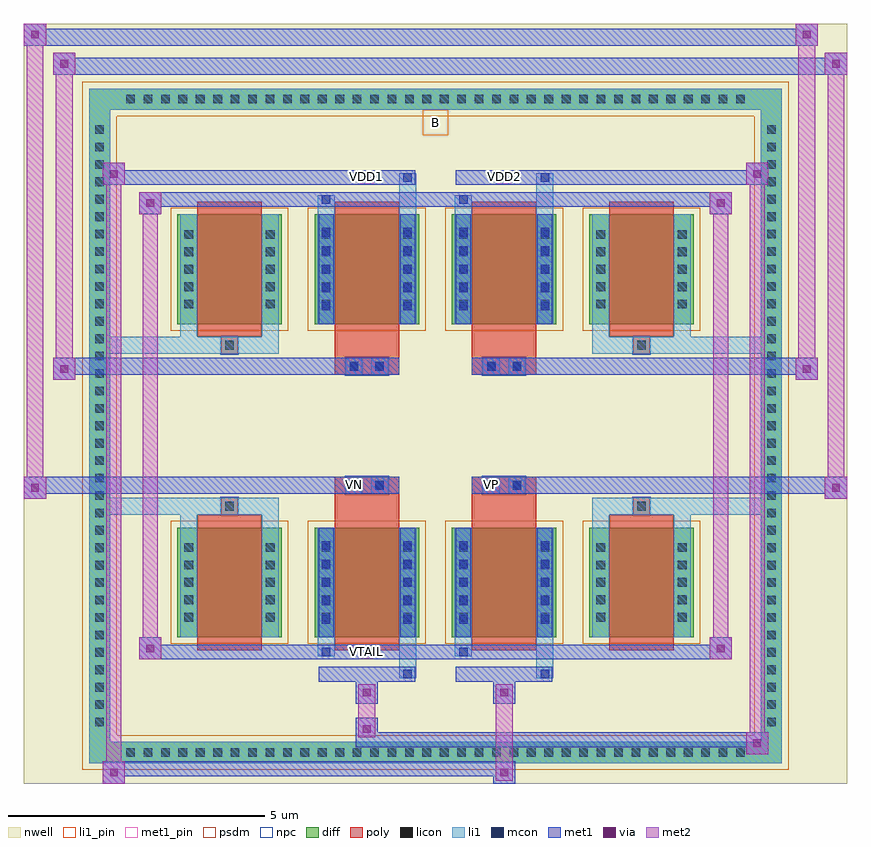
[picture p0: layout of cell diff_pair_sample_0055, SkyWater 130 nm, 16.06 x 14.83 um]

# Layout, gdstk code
import gdstk
lib = gdstk.Library(unit=1e-6, precision=5e-09)
def R(c, l, rs):  # rectangles x0, y0, x1, y1
    for r in rs: c.add(gdstk.rectangle(r[:2], r[2:], *l))
def A(c, l, x, y, w, h, nx, ny, dx, dy):  # array of equal rectangles
    R(c, l, [(x+i*dx, y+j*dy, x+i*dx+w, y+j*dy+h) for i in range(nx) for j in range(ny)])
def P(c, l, *ps):  # polygons
    for p in ps: c.add(gdstk.Polygon(p, *l))
nwell = (64, 20)
diff = (65, 20)
poly = (66, 20)
licon = (66, 44)
li1_pin = (67, 16)
li1 = (67, 20)
mcon = (67, 44)
met1_pin = (68, 16)
met1 = (68, 20)
via = (68, 44)
met2 = (69, 20)
psdm = (94, 20)
npc = (95, 20)

diff_pair_sample_0055 = lib.new_cell('diff_pair_sample_0055')
R(diff_pair_sample_0055, nwell, [(-8.03,-6.98,8.03,7.85), (-5.35,-5.17,-0.01,-0.795), (0.01,-5.17,5.35,-0.795), (-5.35,0.795,-0.01,5.17), (0.01,0.795,5.35,5.17)])
A(diff_pair_sample_0055, diff, -6.155, -6.58, 0.41, 0.41, 36, 2, 0.34, 12.75)
A(diff_pair_sample_0055, diff, -6.76, -5.985, 0.41, 0.41, 1, 35, 0, 0.34)
A(diff_pair_sample_0055, diff, 6.35, -5.985, 0.41, 0.41, 1, 35, 0, 0.34)
A(diff_pair_sample_0055, diff, -5.04, -4.125, 2.04, 2.14, 4, 2, 2.68, 6.11)
R(diff_pair_sample_0055, diff, [(-6.155,-6.58,6.155,-6.17), (-6.76,-5.985,-6.35,5.985), (6.35,-5.985,6.76,5.985), (-6.155,6.17,6.155,6.58)])
P(diff_pair_sample_0055, diff, [(6.76,6.58),(-6.76,6.58),(-6.76,-6.17),(-6.35,-6.17),(-6.35,6.17),(6.35,6.17),(6.35,-6.17),(-6.35,-6.17),(-6.76,-6.17),(-6.76,-6.58),(6.76,-6.58)])
A(diff_pair_sample_0055, poly, -4.65, -4.375, 1.26, 2.64, 4, 2, 2.68, 6.11)
R(diff_pair_sample_0055, poly, [(-4.185,-1.735,-3.855,-1.405), (-4.185,-1.735,-3.855,-1.405), (-1.97,-1.735,-0.71,-1.325), (0.71,-1.735,1.97,-1.325), (3.855,-1.735,4.185,-1.405), (3.855,-1.735,4.185,-1.405), (-1.97,-1.325,-0.71,-0.995), (-1.755,-1.325,-1.425,-0.995), (-1.255,-1.325,-0.925,-0.995), (0.71,-1.325,1.97,-0.995), (0.925,-1.325,1.255,-0.995), (1.425,-1.325,1.755,-0.995), (-1.97,0.995,-0.71,1.325), (-1.755,0.995,-1.425,1.325), (-1.255,0.995,-0.925,1.325), (0.71,0.995,1.97,1.325), (0.925,0.995,1.255,1.325), (1.425,0.995,1.755,1.325), (-1.97,1.325,-0.71,1.735), (0.71,1.325,1.97,1.735), (-4.185,1.405,-3.855,1.735), (-4.185,1.405,-3.855,1.735), (3.855,1.405,4.185,1.735), (3.855,1.405,4.185,1.735)])
A(diff_pair_sample_0055, licon, -6.035, -6.46, 0.17, 0.17, 36, 2, 0.34, 12.75)
A(diff_pair_sample_0055, licon, -6.64, -5.865, 0.17, 0.17, 1, 35, 0, 0.34)
A(diff_pair_sample_0055, licon, 6.47, -5.865, 0.17, 0.17, 1, 35, 0, 0.34)
A(diff_pair_sample_0055, licon, -4.9, -3.82, 0.17, 0.17, 1, 5, 0, 0.34)
A(diff_pair_sample_0055, licon, -3.31, -3.82, 0.17, 0.17, 1, 5, 0, 0.34)
A(diff_pair_sample_0055, licon, -2.22, -3.82, 0.17, 0.17, 1, 5, 0, 0.34)
A(diff_pair_sample_0055, licon, -0.63, -3.82, 0.17, 0.17, 1, 5, 0, 0.34)
A(diff_pair_sample_0055, licon, 0.46, -3.82, 0.17, 0.17, 1, 5, 0, 0.34)
A(diff_pair_sample_0055, licon, 2.05, -3.82, 0.17, 0.17, 1, 5, 0, 0.34)
A(diff_pair_sample_0055, licon, 3.14, -3.82, 0.17, 0.17, 1, 5, 0, 0.34)
A(diff_pair_sample_0055, licon, 4.73, -3.82, 0.17, 0.17, 1, 5, 0, 0.34)
A(diff_pair_sample_0055, licon, -4.9, 2.29, 0.17, 0.17, 1, 5, 0, 0.34)
A(diff_pair_sample_0055, licon, -3.31, 2.29, 0.17, 0.17, 1, 5, 0, 0.34)
A(diff_pair_sample_0055, licon, -2.22, 2.29, 0.17, 0.17, 1, 5, 0, 0.34)
A(diff_pair_sample_0055, licon, -0.63, 2.29, 0.17, 0.17, 1, 5, 0, 0.34)
A(diff_pair_sample_0055, licon, 0.46, 2.29, 0.17, 0.17, 1, 5, 0, 0.34)
A(diff_pair_sample_0055, licon, 2.05, 2.29, 0.17, 0.17, 1, 5, 0, 0.34)
A(diff_pair_sample_0055, licon, 3.14, 2.29, 0.17, 0.17, 1, 5, 0, 0.34)
A(diff_pair_sample_0055, licon, 4.73, 2.29, 0.17, 0.17, 1, 5, 0, 0.34)
R(diff_pair_sample_0055, licon, [(-4.105,-1.655,-3.935,-1.485), (3.935,-1.655,4.105,-1.485), (-1.675,-1.245,-1.505,-1.075), (-1.175,-1.245,-1.005,-1.075), (1.005,-1.245,1.175,-1.075), (1.505,-1.245,1.675,-1.075), (-1.675,1.075,-1.505,1.245), (-1.175,1.075,-1.005,1.245), (1.005,1.075,1.175,1.245), (1.505,1.075,1.675,1.245), (-4.105,1.485,-3.935,1.655), (3.935,1.485,4.105,1.655)])
R(diff_pair_sample_0055, li1_pin, [(-0.25,5.67,0.25,6.17)])
A(diff_pair_sample_0055, li1, -6.115, -6.54, 0.33, 0.33, 36, 2, 0.34, 12.75)
A(diff_pair_sample_0055, li1, -6.72, -5.945, 0.33, 0.33, 1, 35, 0, 0.34)
A(diff_pair_sample_0055, li1, 6.39, -5.945, 0.33, 0.33, 1, 35, 0, 0.34)
A(diff_pair_sample_0055, li1, -4.98, -3.9, 0.33, 0.33, 1, 5, 0, 0.34)
A(diff_pair_sample_0055, li1, -3.39, -3.9, 0.33, 0.33, 1, 5, 0, 0.34)
A(diff_pair_sample_0055, li1, -2.3, -3.9, 0.33, 0.33, 1, 5, 0, 0.34)
A(diff_pair_sample_0055, li1, -0.71, -3.9, 0.33, 0.33, 1, 5, 0, 0.34)
A(diff_pair_sample_0055, li1, 0.38, -3.9, 0.33, 0.33, 1, 5, 0, 0.34)
A(diff_pair_sample_0055, li1, 1.97, -3.9, 0.33, 0.33, 1, 5, 0, 0.34)
A(diff_pair_sample_0055, li1, 3.06, -3.9, 0.33, 0.33, 1, 5, 0, 0.34)
A(diff_pair_sample_0055, li1, 4.65, -3.9, 0.33, 0.33, 1, 5, 0, 0.34)
A(diff_pair_sample_0055, li1, -2.22, -3.86, 0.17, 0.17, 1, 5, 0, 0.36)
A(diff_pair_sample_0055, li1, -0.63, -3.86, 0.17, 0.17, 1, 5, 0, 0.36)
A(diff_pair_sample_0055, li1, 0.46, -3.86, 0.17, 0.17, 1, 5, 0, 0.36)
A(diff_pair_sample_0055, li1, 2.05, -3.86, 0.17, 0.17, 1, 5, 0, 0.36)
A(diff_pair_sample_0055, li1, -4.98, 2.21, 0.33, 0.33, 1, 5, 0, 0.34)
A(diff_pair_sample_0055, li1, -3.39, 2.21, 0.33, 0.33, 1, 5, 0, 0.34)
A(diff_pair_sample_0055, li1, -2.3, 2.21, 0.33, 0.33, 1, 5, 0, 0.34)
A(diff_pair_sample_0055, li1, -0.71, 2.21, 0.33, 0.33, 1, 5, 0, 0.34)
A(diff_pair_sample_0055, li1, 0.38, 2.21, 0.33, 0.33, 1, 5, 0, 0.34)
A(diff_pair_sample_0055, li1, 1.97, 2.21, 0.33, 0.33, 1, 5, 0, 0.34)
A(diff_pair_sample_0055, li1, 3.06, 2.21, 0.33, 0.33, 1, 5, 0, 0.34)
A(diff_pair_sample_0055, li1, 4.65, 2.21, 0.33, 0.33, 1, 5, 0, 0.34)
A(diff_pair_sample_0055, li1, -2.22, 2.25, 0.17, 0.17, 1, 5, 0, 0.36)
A(diff_pair_sample_0055, li1, -0.63, 2.25, 0.17, 0.17, 1, 5, 0, 0.36)
A(diff_pair_sample_0055, li1, 0.46, 2.25, 0.17, 0.17, 1, 5, 0, 0.36)
A(diff_pair_sample_0055, li1, 2.05, 2.25, 0.17, 0.17, 1, 5, 0, 0.36)
R(diff_pair_sample_0055, li1, [(-6.76,-6.58,-6.35,-6.17), (-6.76,-6.58,-6.35,-6.17), (-6.35,-6.58,6.35,-6.17), (6.35,-6.58,6.76,-6.17), (6.35,-6.58,6.76,-6.17), (-6.76,-6.17,-6.35,6.17), (6.35,-6.17,6.76,6.17), (-0.71,-4.93,-0.38,-4.125), (-0.63,-4.93,-0.46,-4.76), (1.97,-4.93,2.3,-4.125), (2.05,-4.93,2.22,-4.76), (-2.3,-4.5,-1.97,-4.125), (-2.22,-4.5,-2.05,-4.33), (0.38,-4.5,0.71,-4.125), (0.46,-4.5,0.63,-4.33), (-4.98,-4.125,-4.65,-1.985), (-3.39,-4.125,-3.06,-1.985), (-2.3,-4.125,-1.97,-1.985), (-0.71,-4.125,-0.38,-1.985), (0.38,-4.125,0.71,-1.985), (1.97,-4.125,2.3,-1.985), (3.06,-4.125,3.39,-1.985), (4.65,-4.125,4.98,-1.985), (-2.22,-3.86,-2.05,-2.25), (-0.63,-3.86,-0.46,-2.25), (0.46,-3.86,0.63,-2.25), (2.05,-3.86,2.22,-2.25), (-4.98,-1.985,-4.65,-1.405), (-3.39,-1.985,-3.06,-1.405), (3.06,-1.985,3.39,-1.405), (4.65,-1.985,4.98,-1.405), (-6.76,-1.735,-4.185,-1.405), (-4.98,-1.735,-4.185,-1.405), (-4.185,-1.735,-3.855,-1.405), (-3.855,-1.735,-3.06,-1.405), (3.06,-1.735,3.855,-1.405), (3.855,-1.735,4.185,-1.405), (3.855,-1.735,6.76,-1.405), (4.185,-1.735,4.98,-1.405), (-1.755,-1.325,-1.425,-0.995), (-1.255,-1.325,-0.925,-0.995), (0.925,-1.325,1.255,-0.995), (1.425,-1.325,1.755,-0.995), (-1.755,0.995,-1.425,1.325), (-1.255,0.995,-0.925,1.325), (0.925,0.995,1.255,1.325), (1.425,0.995,1.755,1.325), (-6.76,1.405,-4.185,1.735), (-4.98,1.405,-4.185,1.735), (-4.98,1.405,-4.65,1.985), (-4.185,1.405,-3.855,1.735), (-3.855,1.405,-3.06,1.735), (-3.39,1.405,-3.06,1.985), (3.06,1.405,3.855,1.735), (3.06,1.405,3.39,1.985), (3.855,1.405,4.185,1.735), (3.855,1.405,6.76,1.735), (4.185,1.405,4.98,1.735), (4.65,1.405,4.98,1.985), (-4.98,1.985,-4.65,4.125), (-3.39,1.985,-3.06,4.125), (-2.3,1.985,-1.97,4.125), (-0.71,1.985,-0.38,4.125), (0.38,1.985,0.71,4.125), (1.97,1.985,2.3,4.125), (3.06,1.985,3.39,4.125), (4.65,1.985,4.98,4.125), (-2.22,2.25,-2.05,3.86), (-0.63,2.25,-0.46,3.86), (0.46,2.25,0.63,3.86), (2.05,2.25,2.22,3.86), (-2.3,4.125,-1.97,4.5), (-0.71,4.125,-0.38,4.93), (0.38,4.125,0.71,4.5), (1.97,4.125,2.3,4.93), (-2.22,4.33,-2.05,4.5), (0.46,4.33,0.63,4.5), (-0.63,4.76,-0.46,4.93), (2.05,4.76,2.22,4.93), (-6.76,6.17,-6.35,6.58), (-6.76,6.17,-6.35,6.58), (-6.35,6.17,6.35,6.58), (6.35,6.17,6.76,6.58), (6.35,6.17,6.76,6.58)])
A(diff_pair_sample_0055, mcon, -2.22, -3.86, 0.17, 0.17, 1, 5, 0, 0.36)
A(diff_pair_sample_0055, mcon, -0.63, -3.86, 0.17, 0.17, 1, 5, 0, 0.36)
A(diff_pair_sample_0055, mcon, 0.46, -3.86, 0.17, 0.17, 1, 5, 0, 0.36)
A(diff_pair_sample_0055, mcon, 2.05, -3.86, 0.17, 0.17, 1, 5, 0, 0.36)
A(diff_pair_sample_0055, mcon, -2.22, 2.25, 0.17, 0.17, 1, 5, 0, 0.36)
A(diff_pair_sample_0055, mcon, -0.63, 2.25, 0.17, 0.17, 1, 5, 0, 0.36)
A(diff_pair_sample_0055, mcon, 0.46, 2.25, 0.17, 0.17, 1, 5, 0, 0.36)
A(diff_pair_sample_0055, mcon, 2.05, 2.25, 0.17, 0.17, 1, 5, 0, 0.36)
R(diff_pair_sample_0055, mcon, [(-0.63,-4.93,-0.46,-4.76), (2.05,-4.93,2.22,-4.76), (-2.22,-4.5,-2.05,-4.33), (0.46,-4.5,0.63,-4.33), (-1.675,-1.245,-1.505,-1.075), (-1.175,-1.245,-1.005,-1.075), (1.005,-1.245,1.175,-1.075), (1.505,-1.245,1.675,-1.075), (-1.675,1.075,-1.505,1.245), (-1.175,1.075,-1.005,1.245), (1.005,1.075,1.175,1.245), (1.505,1.075,1.675,1.245), (-2.22,4.33,-2.05,4.5), (0.46,4.33,0.63,4.5), (-0.63,4.76,-0.46,4.93), (2.05,4.76,2.22,4.93)])
R(diff_pair_sample_0055, met1_pin, [(-1.475,-4.54,-1.205,-4.27), (-1.725,-1.285,-1.455,-1.015), (0.955,-1.285,1.225,-1.015), (-1.475,4.72,-1.205,4.99), (1.205,4.72,1.475,4.99)])
A(diff_pair_sample_0055, met1, -2.28, -3.92, 0.29, 0.29, 1, 5, 0, 0.36)
A(diff_pair_sample_0055, met1, -0.69, -3.92, 0.29, 0.29, 1, 5, 0, 0.36)
A(diff_pair_sample_0055, met1, 0.4, -3.92, 0.29, 0.29, 1, 5, 0, 0.36)
A(diff_pair_sample_0055, met1, 1.99, -3.92, 0.29, 0.29, 1, 5, 0, 0.36)
A(diff_pair_sample_0055, met1, -2.28, 2.19, 0.29, 0.29, 1, 5, 0, 0.36)
A(diff_pair_sample_0055, met1, -0.69, 2.19, 0.29, 0.29, 1, 5, 0, 0.36)
A(diff_pair_sample_0055, met1, 0.4, 2.19, 0.29, 0.29, 1, 5, 0, 0.36)
A(diff_pair_sample_0055, met1, 1.99, 2.19, 0.29, 0.29, 1, 5, 0, 0.36)
R(diff_pair_sample_0055, met1, [(-6.49,-6.98,-6.06,-6.55), (1.125,-6.98,1.555,-6.55), (-6.49,-6.84,1.555,-6.55), (6.06,-6.41,6.49,-5.98), (-1.555,-6.27,6.49,-5.98), (-1.555,-6.13,-1.125,-5.7), (-1.555,-5.42,-1.125,-4.99), (1.125,-5.42,1.555,-4.99), (-2.28,-4.99,-0.4,-4.7), (-0.69,-4.99,-0.4,-4.7), (0.4,-4.99,2.28,-4.7), (1.99,-4.99,2.28,-4.7), (-5.78,-4.56,-5.35,-4.13), (-5.78,-4.56,-2.28,-4.27), (-2.28,-4.56,-1.99,-4.27), (-2.28,-4.56,-0.4,-4.27), (-0.4,-4.56,0.4,-4.27), (0.4,-4.56,0.69,-4.27), (0.4,-4.56,2.28,-4.27), (2.28,-4.56,5.78,-4.27), (5.35,-4.56,5.78,-4.13), (-2.28,-4.125,-1.99,-1.985), (-0.69,-4.125,-0.4,-1.985), (0.4,-4.125,0.69,-1.985), (1.99,-4.125,2.28,-1.985), (-8.03,-1.425,-7.6,-0.995), (7.6,-1.425,8.03,-0.995), (-8.03,-1.325,-0.71,-0.995), (-1.97,-1.325,-0.71,-0.995), (0.71,-1.325,1.97,-0.995), (0.71,-1.325,8.03,-0.995), (-1.735,-1.305,-1.445,-1.015), (-1.235,-1.305,-0.945,-1.015), (0.945,-1.305,1.235,-1.015), (1.445,-1.305,1.735,-1.015), (-7.46,0.895,-7.03,1.325), (7.03,0.895,7.46,1.325), (-7.46,0.995,-1.97,1.325), (-1.97,0.995,-0.71,1.325), (0.71,0.995,1.97,1.325), (1.97,0.995,7.46,1.325), (-1.735,1.015,-1.445,1.305), (-1.235,1.015,-0.945,1.305), (0.945,1.015,1.235,1.305), (1.445,1.015,1.735,1.305), (-2.28,1.985,-1.99,4.125), (-0.69,1.985,-0.4,4.125), (0.4,1.985,0.69,4.125), (1.99,1.985,2.28,4.125), (-5.78,4.13,-5.35,4.56), (5.35,4.13,5.78,4.56), (-5.78,4.27,-2.28,4.56), (-2.28,4.27,-1.99,4.56), (-2.28,4.27,-0.4,4.56), (-0.4,4.27,0.4,4.56), (0.4,4.27,0.69,4.56), (0.4,4.27,2.28,4.56), (2.28,4.27,5.78,4.56), (-6.49,4.7,-6.06,5.13), (-6.49,4.7,-2.28,4.99), (-2.28,4.7,-0.4,4.99), (-0.69,4.7,-0.4,4.99), (0.4,4.7,2.28,4.99), (1.99,4.7,2.28,4.99), (2.28,4.7,6.49,4.99), (6.06,4.7,6.49,5.13), (-7.46,6.85,-7.03,7.28), (-7.46,6.85,-5.35,7.18), (-5.35,6.85,5.35,7.18), (5.35,6.85,8.03,7.18), (7.6,6.85,8.03,7.28), (-8.03,7.42,-7.6,7.85), (-8.03,7.42,-5.35,7.75), (-5.35,7.42,5.35,7.75), (5.35,7.42,7.46,7.75), (7.03,7.42,7.46,7.85)])
R(diff_pair_sample_0055, via, [(-6.35,-6.84,-6.2,-6.69), (1.265,-6.84,1.415,-6.69), (6.2,-6.27,6.35,-6.12), (-1.415,-5.99,-1.265,-5.84), (-1.415,-5.28,-1.265,-5.13), (1.265,-5.28,1.415,-5.13), (-5.64,-4.42,-5.49,-4.27), (5.49,-4.42,5.64,-4.27), (-7.89,-1.285,-7.74,-1.135), (7.74,-1.285,7.89,-1.135), (-7.32,1.035,-7.17,1.185), (7.17,1.035,7.32,1.185), (-5.64,4.27,-5.49,4.42), (5.49,4.27,5.64,4.42), (-6.35,4.84,-6.2,4.99), (6.2,4.84,6.35,4.99), (-7.32,6.99,-7.17,7.14), (7.74,6.99,7.89,7.14), (-7.89,7.56,-7.74,7.71), (7.17,7.56,7.32,7.71)])
R(diff_pair_sample_0055, met2, [(-6.49,-6.98,-6.06,-6.55), (-6.42,-6.98,-6.13,5.13), (-6.13,-6.98,-6.06,-6.55), (-6.44,-6.93,-6.11,-6.6), (1.175,-6.93,1.505,-6.6), (1.175,-6.6,1.505,-5.37), (6.06,-6.41,6.49,-5.98), (6.13,-6.41,6.42,5.13), (6.42,-6.41,6.49,-5.98), (6.11,-6.36,6.44,-6.03), (-1.505,-6.08,-1.175,-5.75), (-1.505,-5.75,-1.175,-5.37), (-1.505,-5.37,-1.175,-5.04), (1.175,-5.37,1.505,-5.04), (-5.78,-4.56,-5.35,-4.13), (-5.71,-4.56,-5.42,4.56), (-5.42,-4.56,-5.35,-4.13), (5.35,-4.56,5.78,-4.13), (5.42,-4.56,5.71,4.56), (5.71,-4.56,5.78,-4.13), (-5.73,-4.51,-5.4,-4.18), (5.4,-4.51,5.73,-4.18), (-8.03,-1.425,-7.6,-0.995), (-7.98,-1.425,-7.65,7.85), (-7.65,-1.425,-7.6,-0.995), (7.6,-1.425,8.03,-0.995), (7.65,-1.425,7.98,7.28), (7.98,-1.425,8.03,-0.995), (-7.98,-1.375,-7.65,-1.045), (7.65,-1.375,7.98,-1.045), (-7.46,0.895,-7.03,1.325), (-7.41,0.895,-7.08,7.28), (-7.08,0.895,-7.03,1.325), (7.03,0.895,7.46,1.325), (7.08,0.895,7.41,7.85), (7.41,0.895,7.46,1.325), (-7.41,0.945,-7.08,1.275), (7.08,0.945,7.41,1.275), (-5.78,4.13,-5.35,4.56), (-5.42,4.13,-5.35,4.56), (5.35,4.13,5.78,4.56), (5.71,4.13,5.78,4.56), (-5.73,4.18,-5.4,4.51), (5.4,4.18,5.73,4.51), (-6.49,4.7,-6.06,5.13), (-6.13,4.7,-6.06,5.13), (6.06,4.7,6.49,5.13), (6.42,4.7,6.49,5.13), (-6.44,4.75,-6.11,5.08), (6.11,4.75,6.44,5.08), (-7.46,6.85,-7.03,7.28), (-7.08,6.85,-7.03,7.28), (7.6,6.85,8.03,7.28), (7.98,6.85,8.03,7.28), (-7.41,6.9,-7.08,7.23), (7.65,6.9,7.98,7.23), (-8.03,7.42,-7.6,7.85), (-7.65,7.42,-7.6,7.85), (7.03,7.42,7.46,7.85), (7.41,7.42,7.46,7.85), (-7.98,7.47,-7.65,7.8), (7.08,7.47,7.41,7.8)])
A(diff_pair_sample_0055, psdm, -5.17, -4.255, 2.3, 2.4, 4, 2, 2.68, 6.11)
P(diff_pair_sample_0055, psdm, [(6.89,6.71),(-6.89,6.71),(-6.89,-6.04),(-6.22,-6.04),(-6.22,6.04),(6.22,6.04),(6.22,-6.04),(-6.22,-6.04),(-6.89,-6.04),(-6.89,-6.71),(6.89,-6.71)])
R(diff_pair_sample_0055, npc, [(-4.205,-1.755,-3.835,-1.385), (3.835,-1.755,4.205,-1.385), (-1.775,-1.345,-1.405,-0.975), (-1.775,-1.345,-0.905,-0.975), (-1.775,-1.345,-0.905,-0.975), (-1.275,-1.345,-0.905,-0.975), (0.905,-1.345,1.275,-0.975), (0.905,-1.345,1.775,-0.975), (0.905,-1.345,1.775,-0.975), (1.405,-1.345,1.775,-0.975), (-1.775,0.975,-1.405,1.345), (-1.775,0.975,-0.905,1.345), (-1.775,0.975,-0.905,1.345), (-1.275,0.975,-0.905,1.345), (0.905,0.975,1.275,1.345), (0.905,0.975,1.775,1.345), (0.905,0.975,1.775,1.345), (1.405,0.975,1.775,1.345), (-4.205,1.385,-3.835,1.755), (3.835,1.385,4.205,1.755)])
diff_pair_sample_0055.add(gdstk.Label('VTAIL', (-1.34,-4.405), layer=68, texttype=5))
diff_pair_sample_0055.add(gdstk.Label('VN', (-1.59,-1.15), layer=68, texttype=5))
diff_pair_sample_0055.add(gdstk.Label('VP', (1.09,-1.15), layer=68, texttype=5))
diff_pair_sample_0055.add(gdstk.Label('B', (0,5.92), layer=67, texttype=5))
diff_pair_sample_0055.add(gdstk.Label('VDD2', (1.34,4.855), layer=68, texttype=5))
diff_pair_sample_0055.add(gdstk.Label('VDD1', (-1.34,4.855), layer=68, texttype=5))

lib.write_gds('diff_pair_sample_0055.gds')
